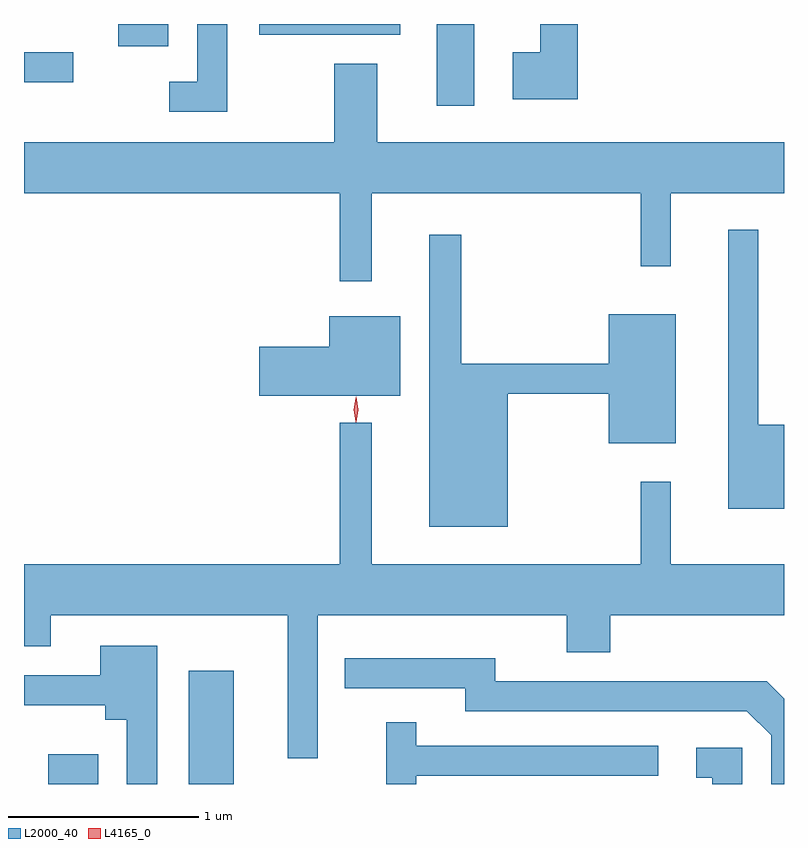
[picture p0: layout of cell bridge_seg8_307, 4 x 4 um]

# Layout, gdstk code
import gdstk
lib = gdstk.Library(unit=1e-6, precision=1e-09)
def R(c, l, rs):  # rectangles x0, y0, x1, y1
    for r in rs: c.add(gdstk.rectangle(r[:2], r[2:], *l))
def P(c, l, *ps):  # polygons
    for p in ps: c.add(gdstk.Polygon(p, *l))
L2000_40 = (2000, 40)
L4165_0 = (4165, 0)

bridge_seg8_307 = lib.new_cell('bridge_seg8_307')
R(bridge_seg8_307, L2000_40, [(1017.826,1939.867,1018.089,1940.024), (1018.566,1939.867,1018.804,1940.464), (1019.871,1943.436,1020.069,1943.867), (1017.699,1943.561,1017.958,1943.719), (1018.196,1943.751,1018.459,1943.867), (1018.936,1943.811,1019.679,1943.867)])
P(bridge_seg8_307, L2000_40, [(1018.769,1943.867),(1018.611,1943.867),(1018.611,1943.564),(1018.463,1943.564),(1018.463,1943.406),(1018.769,1943.406)],
  [(1020.614,1943.867),(1020.416,1943.867),(1020.416,1943.719),(1020.271,1943.719),(1020.271,1943.471),(1020.614,1943.471)],
  [(1019.529,1942.976),(1020.946,1942.976),(1020.946,1942.593),(1021.104,1942.593),(1021.104,1942.976),(1021.699,1942.976),(1021.699,1943.244),(1019.559,1943.244),(1019.559,1943.659),(1019.331,1943.659),(1019.331,1943.244),(1017.699,1943.244),(1017.699,1942.976),(1019.361,1942.976),(1019.361,1942.513),(1019.529,1942.513)],
  [(1021.699,1941.759),(1021.564,1941.759),(1021.564,1942.783),(1021.406,1942.783),(1021.406,1941.316),(1021.699,1941.316)],
  [(1020.244,1941.921),(1020.776,1941.921),(1020.776,1941.661),(1021.129,1941.661),(1021.129,1942.339),(1020.776,1942.339),(1020.776,1942.079),(1019.999,1942.079),(1019.999,1942.758),(1019.831,1942.758),(1019.831,1941.221),(1020.244,1941.221)],
  [(1019.679,1942.329),(1019.306,1942.329),(1019.306,1942.169),(1018.936,1942.169),(1018.936,1941.911),(1019.679,1941.911)],
  [(1019.244,1940.756),(1020.556,1940.756),(1020.556,1940.561),(1020.784,1940.561),(1020.784,1940.756),(1021.699,1940.756),(1021.699,1941.024),(1021.104,1941.024),(1021.104,1941.458),(1020.946,1941.458),(1020.946,1941.024),(1019.529,1941.024),(1019.529,1941.768),(1019.361,1941.768),(1019.361,1941.024),(1017.699,1941.024),(1017.699,1940.591),(1017.839,1940.591),(1017.839,1940.756),(1019.086,1940.756),(1019.086,1940.003),(1019.244,1940.003)],
  [(1018.399,1940.594),(1018.101,1940.594),(1018.101,1940.439),(1017.699,1940.439),(1017.699,1940.281),(1018.126,1940.281),(1018.126,1940.206),(1018.241,1940.206),(1018.241,1939.867),(1018.399,1939.867)],
  [(1021.699,1940.317),(1021.607,1940.409),(1020.179,1940.409),(1020.179,1940.529),(1019.388,1940.529),(1019.388,1940.371),(1020.021,1940.371),(1020.021,1940.251),(1021.504,1940.251),(1021.631,1940.124),(1021.631,1939.867),(1021.699,1939.867)],
  [(1019.764,1939.911),(1021.038,1939.911),(1021.038,1940.069),(1019.764,1940.069),(1019.764,1940.193),(1019.606,1940.193),(1019.606,1939.867),(1019.764,1939.867)],
  [(1021.479,1940.059),(1021.238,1940.059),(1021.238,1939.901),(1021.321,1939.901),(1021.321,1939.867),(1021.479,1939.867)])
P(bridge_seg8_307, L4165_0, [(1019.446,1941.77),(1019.446,1941.77),(1019.437,1941.838),(1019.447,1941.905),(1019.448,1941.906),(1019.448,1941.905),(1019.457,1941.838),(1019.447,1941.77)],
  [(1019.444,1941.773),(1019.434,1941.836),(1019.444,1941.899),(1019.444,1941.9),(1019.445,1941.899),(1019.454,1941.836),(1019.445,1941.773),(1019.445,1941.773)])

lib.write_gds('bridge_seg8_307.gds')
